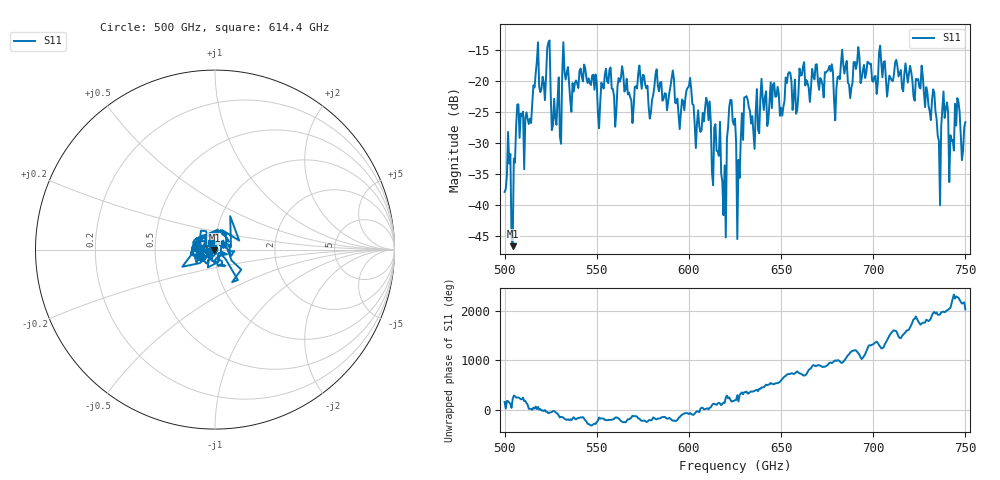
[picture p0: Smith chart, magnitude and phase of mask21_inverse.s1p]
!Created with skrf (http://scikit-rf.org).
# GHz S MA R 50.0
!freq magS11 angS11
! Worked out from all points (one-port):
!   401 points, 500 GHz to 750 GHz, reference 50 ohm
!   lowest |S11| = -46.7 dB at 504.4 GHz (marker M1), VSWR 1.01, Z = 49.7 - j0.322 ohm
!   |S11| at or under -10 dB: start of sweep to end of sweep
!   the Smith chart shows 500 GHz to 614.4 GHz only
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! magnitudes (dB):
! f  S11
! 500 GHz  -37.9
! 501.9 GHz  -28.2
! 504.4 GHz  -46.7
! 507.5 GHz  -23.8
! 511.9 GHz  -25.1
! 516.9 GHz  -18.7
! 523.8 GHz  -13.8
! 526.9 GHz  -22.9
! 531.2 GHz  -18.9
! 533.1 GHz  -19.8
! 562.5 GHz  -20.1
! 593.8 GHz  -22.9
! 610 GHz  -23.4
! 618.8 GHz  -41.7
! 621.9 GHz  -24.1
! 625 GHz  -26.1
! 626.9 GHz  -32.7
! 631.2 GHz  -22.4
! 635 GHz  -28.3
! 656.2 GHz  -24.7
! 687.5 GHz  -22.8
! 718.8 GHz  -20.3
! 733.1 GHz  -21.9
! 735.6 GHz  -29.7
! 738.8 GHz  -26.0
! 742.5 GHz  -29.7
! 745.6 GHz  -22.8
! 750 GHz  -26.7
